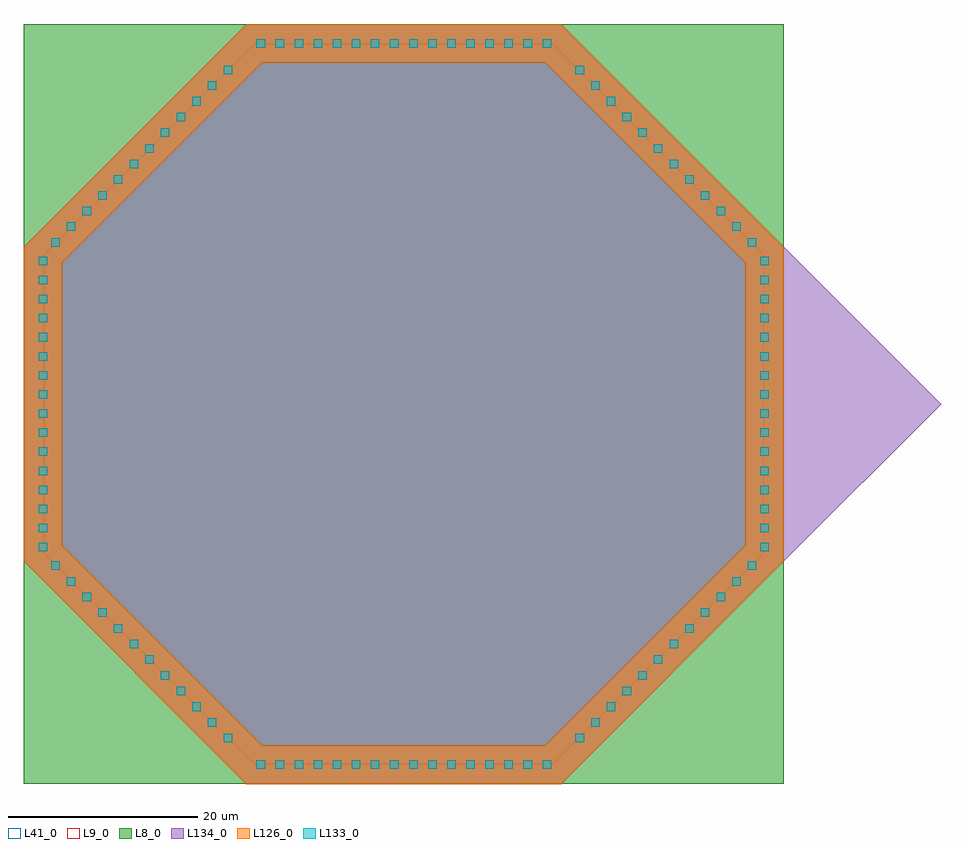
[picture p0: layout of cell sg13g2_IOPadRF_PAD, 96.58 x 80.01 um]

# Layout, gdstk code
import gdstk
lib = gdstk.Library(unit=1e-6, precision=1e-09)
def R(c, l, rs):  # rectangles x0, y0, x1, y1
    for r in rs: c.add(gdstk.rectangle(r[:2], r[2:], *l))
def A(c, l, x, y, w, h, nx, ny, dx, dy):  # array of equal rectangles
    R(c, l, [(x+i*dx, y+j*dy, x+i*dx+w, y+j*dy+h) for i in range(nx) for j in range(ny)])
def P(c, l, *ps):  # polygons
    for p in ps: c.add(gdstk.Polygon(p, *l))
L8_0 = (8, 0)
L9_0 = (9, 0)
L41_0 = (41, 0)
L126_0 = (126, 0)
L133_0 = (133, 0)
L134_0 = (134, 0)

bondpad_1 = lib.new_cell('bondpad$1')
P(bondpad_1, L9_0, [(-15.7,-37.9),(-37.9,-15.7),(-37.9,15.7),(-15.7,37.9),(15.7,37.9),(37.9,15.7),(37.9,-15.7),(15.7,-37.9)])
P(bondpad_1, L41_0, [(-16.57,-40.005),(-40,-16.575),(-40,16.575),(-16.57,40.005),(16.57,40.005),(40,16.575),(40,-16.575),(16.57,-40.005)])
P(bondpad_1, L126_0, [(-16.57,-40.005),(-40,-16.575),(-40,0),(-35.93,0),(-35.93,-14.885),(-14.885,-35.93),(14.885,-35.93),(35.93,-14.885),(35.93,14.885),(14.885,35.93),(-14.885,35.93),(-35.93,14.885),(-35.93,0),(-40,0),(-40,16.575),(-16.57,40.005),(16.57,40.005),(40,16.575),(40,-16.575),(16.57,-40.005)])
A(bondpad_1, L133_0, -9.49, -38.415, 0.9, 0.9, 3, 2, 2.01, 75.93)
A(bondpad_1, L133_0, 0.55, -38.415, 0.9, 0.9, 3, 2, 2.01, 75.93)
A(bondpad_1, L133_0, 10.59, -38.415, 0.9, 0.9, 3, 2, 2.01, 75.93)
A(bondpad_1, L133_0, -38.415, -9.49, 0.9, 0.9, 1, 3, 0, 2.01)
A(bondpad_1, L133_0, 37.515, -9.49, 0.9, 0.9, 1, 3, 0, 2.01)
A(bondpad_1, L133_0, -38.415, 0.55, 0.9, 0.9, 1, 3, 0, 2.01)
A(bondpad_1, L133_0, 37.515, 0.55, 0.9, 0.9, 1, 3, 0, 2.01)
A(bondpad_1, L133_0, -38.415, 10.59, 0.9, 0.9, 1, 3, 0, 2.01)
A(bondpad_1, L133_0, 37.515, 10.59, 0.9, 0.9, 1, 3, 0, 2.01)
R(bondpad_1, L133_0, [(-15.51,-38.415,-14.61,-37.515), (-13.505,-38.415,-12.605,-37.515), (-11.495,-38.415,-10.595,-37.515), (-3.465,-38.415,-2.565,-37.515), (-1.455,-38.415,-0.555,-37.515), (6.575,-38.415,7.475,-37.515), (8.585,-38.415,9.485,-37.515), (-18.975,-35.62,-18.075,-34.72), (18.075,-35.62,18.975,-34.72), (-20.625,-33.97,-19.725,-33.07), (19.725,-33.97,20.625,-33.07), (-22.275,-32.32,-21.375,-31.42), (21.375,-32.32,22.275,-31.42), (-23.925,-30.67,-23.025,-29.77), (23.025,-30.67,23.925,-29.77), (-25.575,-29.02,-24.675,-28.12), (24.675,-29.02,25.575,-28.12), (-27.225,-27.37,-26.325,-26.47), (26.325,-27.37,27.225,-26.47), (-28.875,-25.72,-27.975,-24.82), (27.975,-25.72,28.875,-24.82), (-30.525,-24.07,-29.625,-23.17), (29.625,-24.07,30.525,-23.17), (-32.175,-22.42,-31.275,-21.52), (31.275,-22.42,32.175,-21.52), (-33.825,-20.77,-32.925,-19.87), (32.925,-20.77,33.825,-19.87), (-35.475,-19.12,-34.575,-18.22), (34.575,-19.12,35.475,-18.22), (-37.125,-17.47,-36.225,-16.57), (36.225,-17.47,37.125,-16.57), (-38.415,-15.51,-37.515,-14.61), (37.515,-15.51,38.415,-14.61), (-38.415,-13.505,-37.515,-12.605), (37.515,-13.505,38.415,-12.605), (-38.415,-11.495,-37.515,-10.595), (37.515,-11.495,38.415,-10.595), (-38.415,-3.465,-37.515,-2.565), (37.515,-3.465,38.415,-2.565), (-38.415,-1.455,-37.515,-0.555), (37.515,-1.455,38.415,-0.555), (-38.415,6.575,-37.515,7.475), (37.515,6.575,38.415,7.475), (-38.415,8.585,-37.515,9.485), (37.515,8.585,38.415,9.485), (-37.125,16.57,-36.225,17.47), (36.225,16.57,37.125,17.47), (-35.475,18.22,-34.575,19.12), (34.575,18.22,35.475,19.12), (-33.825,19.87,-32.925,20.77), (32.925,19.87,33.825,20.77), (-32.175,21.52,-31.275,22.42), (31.275,21.52,32.175,22.42), (-30.525,23.17,-29.625,24.07), (29.625,23.17,30.525,24.07), (-28.875,24.82,-27.975,25.72), (27.975,24.82,28.875,25.72), (-27.225,26.47,-26.325,27.37), (26.325,26.47,27.225,27.37), (-25.575,28.12,-24.675,29.02), (24.675,28.12,25.575,29.02), (-23.925,29.77,-23.025,30.67), (23.025,29.77,23.925,30.67), (-22.275,31.42,-21.375,32.32), (21.375,31.42,22.275,32.32), (-20.625,33.07,-19.725,33.97), (19.725,33.07,20.625,33.97), (-18.975,34.72,-18.075,35.62), (18.075,34.72,18.975,35.62), (-15.51,37.515,-14.61,38.415), (-13.505,37.515,-12.605,38.415), (-11.495,37.515,-10.595,38.415), (-3.465,37.515,-2.565,38.415), (-1.455,37.515,-0.555,38.415), (6.575,37.515,7.475,38.415), (8.585,37.515,9.485,38.415)])
P(bondpad_1, L134_0, [(-16.57,-40.005),(-40,-16.575),(-40,16.575),(-16.57,40.005),(16.57,40.005),(40,16.575),(40,-16.575),(16.57,-40.005)])

sg13g2_iopadrf_pad = lib.new_cell('sg13g2_IOPadRF_PAD')
R(sg13g2_iopadrf_pad, L8_0, [(0,0.01,80,80.01)])
P(sg13g2_iopadrf_pad, L9_0, [(28.44,12.105),(12.1,28.445),(12.1,51.565),(28.44,67.905),(51.56,67.905),(67.9,51.565),(67.9,28.445),(51.56,12.105)])
P(sg13g2_iopadrf_pad, L41_0, [(27.57,10),(10,27.57),(10,52.44),(27.57,70.01),(52.43,70.01),(70,52.44),(70,27.57),(52.43,10)])
P(sg13g2_iopadrf_pad, L134_0, [(80,23.43),(80,56.58),(96.575,40.005)])
sg13g2_iopadrf_pad.add(gdstk.Reference(bondpad_1, (40,40.005)))

lib.write_gds('sg13g2_IOPadRF_PAD.gds')
